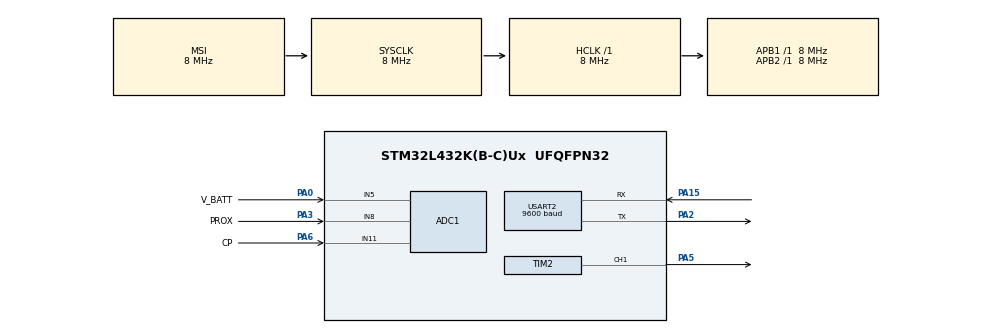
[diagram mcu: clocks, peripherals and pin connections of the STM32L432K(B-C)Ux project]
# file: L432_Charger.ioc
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ADC1.Channel-0\#ChannelRegularConversion=ADC_CHANNEL_5
ADC1.Channel-1\#ChannelRegularConversion=ADC_CHANNEL_8
ADC1.Channel-2\#ChannelRegularConversion=ADC_CHANNEL_11
ADC1.ClockPrescaler=ADC_CLOCK_SYNC_PCLK_DIV1
ADC1.ExternalTrigConv=ADC_EXTERNALTRIG_T6_TRGO
ADC1.NbrOfConversion=3
ADC1.NbrOfConversionFlag=1
ADC1.OffsetNumber-0\#ChannelRegularConversion=ADC_OFFSET_NONE
ADC1.OffsetNumber-1\#ChannelRegularConversion=ADC_OFFSET_NONE
ADC1.OffsetNumber-2\#ChannelRegularConversion=ADC_OFFSET_NONE
ADC1.Rank-0\#ChannelRegularConversion=1
ADC1.Rank-1\#ChannelRegularConversion=2
ADC1.Rank-2\#ChannelRegularConversion=3
ADC1.SamplingTime-0\#ChannelRegularConversion=ADC_SAMPLETIME_12CYCLES_5
ADC1.SamplingTime-1\#ChannelRegularConversion=ADC_SAMPLETIME_12CYCLES_5
ADC1.SamplingTime-2\#ChannelRegularConversion=ADC_SAMPLETIME_12CYCLES_5
ADC1.master=1
Dma.ADC1.0.Direction=DMA_PERIPH_TO_MEMORY
Dma.ADC1.0.Instance=DMA1_Channel1
Dma.ADC1.0.MemDataAlignment=DMA_MDATAALIGN_HALFWORD
Dma.ADC1.0.MemInc=DMA_MINC_ENABLE
Dma.ADC1.0.Mode=DMA_NORMAL
Dma.ADC1.0.PeriphDataAlignment=DMA_PDATAALIGN_HALFWORD
Dma.ADC1.0.PeriphInc=DMA_PINC_DISABLE
Dma.ADC1.0.Priority=DMA_PRIORITY_LOW
Dma.Request0=ADC1
FREERTOS.Tasks01=defaultTask,0,128,StartDefaultTask,Default,NULL,Dynamic,NULL,NULL
FREERTOS.configUSE_NEWLIB_REENTRANT=1
Mcu.Family=STM32L4
Mcu.Name=STM32L432K(B-C)Ux
Mcu.Package=UFQFPN32
NVIC.DMA1_Channel1_IRQn=true\:5\:0\:false\:false\:true\:true\:false\:true\:true
NVIC.PriorityGroup=NVIC_PRIORITYGROUP_4
NVIC.TIM1_UP_TIM16_IRQn=true\:15\:0\:false\:false\:true\:false\:false\:true\:true
NVIC.TimeBase=TIM1_UP_TIM16_IRQn
NVIC.TimeBaseIP=TIM1
PA0.GPIO_Label=V_BATT
PA0.Signal=ADCx_IN5
PA13\ (JTMS-SWDIO).Mode=Serial_Wire
PA13\ (JTMS-SWDIO).Signal=SYS_JTMS-SWDIO
PA14\ (JTCK-SWCLK).Mode=Serial_Wire
PA14\ (JTCK-SWCLK).Signal=SYS_JTCK-SWCLK
PA15\ (JTDI).Mode=Asynchronous
PA15\ (JTDI).Signal=USART2_RX
PA2.Mode=Asynchronous
PA2.Signal=USART2_TX
PA3.GPIO_Label=PROX
PA3.Signal=ADCx_IN8
PA5.Signal=S_TIM2_CH1
PA6.GPIO_Label=CP
PA6.GPIO_PuPd=GPIO_NOPULL
PA6.Signal=ADCx_IN11
ProjectManager.HeapSize=0x200
ProjectManager.StackSize=0x400
ProjectManager.TargetToolchain=STM32CubeIDE
RCC.ADCCLockSelection=RCC_ADCCLKSOURCE_SYSCLK
RCC.ADCFreq_Value=8000000
RCC.AHBFreq_Value=8000000
RCC.APB1Freq_Value=8000000
RCC.APB1TimFreq_Value=8000000
RCC.APB2Freq_Value=8000000
RCC.APB2TimFreq_Value=8000000
RCC.CortexFreq_Value=8000000
RCC.HCLKFreq_Value=8000000
RCC.HSE_VALUE=8000000
RCC.HSI48_VALUE=48000000
RCC.HSI_VALUE=16000000
RCC.LSE_VALUE=32768
RCC.MSIClockRange=RCC_MSIRANGE_7
RCC.MSI_VALUE=8000000
RCC.PLLSAI1N=16
RCC.SYSCLKFreq_VALUE=8000000
RCC.USBFreq_Value=64000000
RCC.VCOOutputFreq_Value=64000000
SH.ADCx_IN11.0=ADC1_IN11,IN11-Single-Ended
SH.ADCx_IN5.0=ADC1_IN5,IN5-Single-Ended
SH.ADCx_IN8.0=ADC1_IN8,IN8-Single-Ended
SH.S_TIM2_CH1.0=TIM2_CH1,PWM Generation1 CH1
TIM2.AutoReloadPreload=TIM_AUTORELOAD_PRELOAD_ENABLE
TIM2.Channel-PWM\ Generation1\ CH1=TIM_CHANNEL_1
TIM2.Period=3999
TIM2.Prescaler=1
TIM2.Pulse-PWM\ Generation1\ CH1=2000
TIM6.Period=99
TIM6.Prescaler=3999
TIM6.TIM_MasterOutputTrigger=TIM_TRGO_UPDATE
USART2.BaudRate=9600
USART2.VirtualMode-Asynchronous=VM_ASYNC
VP_FREERTOS_VS_CMSIS_V1.Mode=CMSIS_V1
VP_SYS_VS_tim1.Mode=TIM1
VP_TIM2_VS_ClockSourceINT.Mode=Internal
VP_TIM6_VS_ClockSourceINT.Mode=Enable_Timer
board=custom

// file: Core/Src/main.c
/* USER CODE BEGIN Header */
/**
  ******************************************************************************
  * @file           : main.c
  * @brief          : Main program body
  ******************************************************************************
  * @attention
  *
  * Copyright (c) 2022 STMicroelectronics.
  * All rights reserved.
  *
  * This software is licensed under terms that can be found in the LICENSE file
  * in the root directory of this software component.
  * If no LICENSE file comes with this software, it is provided AS-IS.
  *
  ******************************************************************************
  * Functions:
  *
  * Program is generating a PWM signal at pin PA5 (A4) with 1kHz and a duty cycle
  * as defined by MAXCURRENT
  * Program is reading 3 ADC signals
  * 	IN5 = A0 = PA0 = Pin 12 = V_BATT
  * 	IN8 = A3 = PA3 = Pin 10 = PROX
  * 	IN11= A6 = PA6 = Pin  7 = CP
  * to check whether connector is pluged, which max current can be charged and
  * whether charging has started
  *
  ******************************************************************************
  * Functions still missing
  * Check of level of PWM to check status of charging process
  * Switching of relais for power supply and communication
  * Change of PWM duty cycle depending on available energy
  ******************************************************************************
  * Known Bugs:
  * ADC zu immernoch langsam um PWM abzutasten
  *
  ******************************************************************************
  * Change Log:
  *
  * 06.04.22	Change ADC rate to 50us ==> 20 values per period of 1 ms
  * 06.04.22	Array of AD values to check level of PWM
  * 06.04.22	Flags für Spannungslevels (Status A-F) werden gesetzt
  * 06.04.22	Prescaler für ADC von 999 auf 99
  *
  ******************************************************************************
  */
/* USER CODE END Header */
#include "main.h"
#include "cmsis_os.h"

/* USER CODE BEGIN Includes */
#include <string.h>
/* USER CODE END Includes */

/* USER CODE BEGIN PTD */
union convert
{
	uint8_t letter[8];
	uint8_t str[8];
} text;

/* USER CODE END PTD */

/* USER CODE BEGIN PD */
#define ADC_CHANNELS	3		// 3 AD-Channels
#define ADC_SAMP_RATE  20		// 20 Conversions per period of 1 ms
#define ADC_BUF_SIZE ADC_CHANNELS*ADC_SAMP_RATE // ADC Buffer Size
#define MAXCURRENT 5
// 0 = kein Ladestrom
// 1 = max. Ladestrom 4,8  A
// 2 = max. Ladestrom 6    A
// 3 = max. Ladestrom 10   A
// 4 = max. Ladestrom 16   A
// 5 = max. Ladestrom 19   A
// 6 = max. Ladestrom 25,5 A
// 7 = max. Ladestrom 32   A
#define V_2 250					// Level for 2V at CP
#define V_4 750					// Level for 4V at CP
#define V_5 1000				// Level for 5V at CP
#define V_7 1500				// Level for 7V at CP
#define V_8 1750				// Level for 8V at CP
#define V_10 2250				// Level for 10V at CP
#define V_11 2500				// Level for 11V at CP

#define LEVEL_LIMIT 7			// At least 7 samples within allowed window

/* USER CODE END PD */

 ADC_HandleTypeDef hadc1;
DMA_HandleTypeDef hdma_adc1;

TIM_HandleTypeDef htim2;
TIM_HandleTypeDef htim6;

UART_HandleTypeDef huart2;

osThreadId defaultTaskHandle;
/* USER CODE BEGIN PV */
// General Variables
uint16_t	i = 0;
uint16_t	j = 0;
uint16_t	k = 0;

// Variables for AD Conversion
uint16_t 	ADC_buffer[ADC_BUF_SIZE];
uint8_t		ADC_flag = 0;					//Flag for ADC conversion finished
uint8_t		ADC_channel = 0;				//Index for ADC channel
uint16_t	ADC_Voltage[ADC_BUF_SIZE];		//Buffer for ADC result in mV
uint32_t	ADC_cum_Val = 0;				//Storage for ADC filtering
uint32_t	ADC_CP_High = 0;				//High level of CP
uint32_t	ADC_CP_Low = 0;					//Low level of CP
uint16_t	ADC_Vbat = 0;					//Filtered Value of VBATT
uint16_t	ADC_Prox = 0;					//Filtered Value of PROX

// Variables for Control
uint8_t 	CP_Status = 0;					//Status of Control Pilot
uint8_t		PROX_Status = 0;				//Status of Proximity Signal
uint8_t		VBATT_Status = 0;				//Status of VBATT Signal
uint8_t		CP_Stat_A;						//Counter for CP-Status A (+12V)
uint8_t		CP_Stat_B;						//Counter for CP-Status B (+9V)
uint8_t		CP_Stat_C;						//Counter for CP-Status C (+6V)
uint8_t		CP_Stat_D;						//Counter for CP-Status D (+3V)
uint8_t		CP_Stat_E;						//Counter for CP-Status E (+0V)
uint8_t		CP_Stat_F;						//Counter for CP-Status F (-12V)

// Variables for PWM
uint32_t 	CH1_DC 			= 0;			//Variable for DutyCycle of PWM
uint32_t 	duty 			= 50;			//duty cycle = 50%
uint8_t		current_level 	= MAXCURRENT;	//Level of allowed max load current

// Variables for UART
uint8_t 	tbuffer[30];			//Transmit buffer
uint8_t 	*ptbuffer;
uint16_t 	value;

// Variables for Error Handling
uint8_t 	error_code;			//Transmit buffer

/* USER CODE END PV */

void SystemClock_Config(void);
static void MX_GPIO_Init(void);
static void MX_DMA_Init(void);
static void MX_ADC1_Init(void);
static void MX_TIM6_Init(void);
static void MX_USART2_UART_Init(void);
static void MX_TIM2_Init(void);
void StartDefaultTask(void const * argument);

int main(void)
{

  /* MCU Configuration--------------------------------------------------------*/

  /* Reset of all peripherals, Initializes the Flash interface and the Systick. */
  HAL_Init();

  /* Configure the system clock */
  SystemClock_Config();

  /* Initialize all configured peripherals */
  MX_GPIO_Init();
  MX_DMA_Init();
  MX_ADC1_Init();
  MX_TIM6_Init();
  MX_USART2_UART_Init();
  MX_TIM2_Init();
  /* USER CODE BEGIN 2 */
  if(HAL_OK != HAL_TIM_PWM_Start(&htim2, TIM_CHANNEL_1))
	  Error_Handler();
  if(HAL_OK != HAL_ADCEx_Calibration_Start(&hadc1, ADC_SINGLE_ENDED))
	  Error_Handler();
  if(HAL_OK != HAL_ADC_Start_DMA(&hadc1, ADC_buffer, ADC_BUF_SIZE))
	  Error_Handler();
  if(HAL_OK != HAL_TIM_Base_Start(&htim6))
	  Error_Handler();

  /* USER CODE END 2 */

  /* Create the thread(s) */
  /* definition and creation of defaultTask */
  osThreadDef(defaultTask, StartDefaultTask, osPriorityNormal, 0, 128);
  defaultTaskHandle = osThreadCreate(osThread(defaultTask), NULL);

  /* Start scheduler */
  osKernelStart();

  /* We should never get here as control is now taken by the scheduler */
  /* Infinite loop */
  while (1)
  {

  }
}

void SystemClock_Config(void)
{
  RCC_OscInitTypeDef RCC_OscInitStruct = {0};
  RCC_ClkInitTypeDef RCC_ClkInitStruct = {0};

  /** Configure the main internal regulator output voltage
  */
  if (HAL_PWREx_ControlVoltageScaling(PWR_REGULATOR_VOLTAGE_SCALE1) != HAL_OK)
  {
    Error_Handler();
  }

  /** Initializes the RCC Oscillators according to the specified parameters
  * in the RCC_OscInitTypeDef structure.
  */
  RCC_OscInitStruct.OscillatorType = RCC_OSCILLATORTYPE_MSI;
  RCC_OscInitStruct.MSIState = RCC_MSI_ON;
  RCC_OscInitStruct.MSICalibrationValue = 0;
  RCC_OscInitStruct.MSIClockRange = RCC_MSIRANGE_7;
  RCC_OscInitStruct.PLL.PLLState = RCC_PLL_NONE;
  if (HAL_RCC_OscConfig(&RCC_OscInitStruct) != HAL_OK)
  {
    Error_Handler();
  }

  /** Initializes the CPU, AHB and APB buses clocks
  */
  RCC_ClkInitStruct.ClockType = RCC_CLOCKTYPE_HCLK|RCC_CLOCKTYPE_SYSCLK
                              |RCC_CLOCKTYPE_PCLK1|RCC_CLOCKTYPE_PCLK2;
  RCC_ClkInitStruct.SYSCLKSource = RCC_SYSCLKSOURCE_MSI;
  RCC_ClkInitStruct.AHBCLKDivider = RCC_SYSCLK_DIV1;
  RCC_ClkInitStruct.APB1CLKDivider = RCC_HCLK_DIV1;
  RCC_ClkInitStruct.APB2CLKDivider = RCC_HCLK_DIV1;

  if (HAL_RCC_ClockConfig(&RCC_ClkInitStruct, FLASH_LATENCY_0) != HAL_OK)
  {
    Error_Handler();
  }
}

static void MX_ADC1_Init(void)
{

  ADC_ChannelConfTypeDef sConfig = {0};

  /** Common config
  */
  hadc1.Instance = ADC1;
  hadc1.Init.ClockPrescaler = ADC_CLOCK_SYNC_PCLK_DIV1;
  hadc1.Init.Resolution = ADC_RESOLUTION_12B;
  hadc1.Init.DataAlign = ADC_DATAALIGN_RIGHT;
  hadc1.Init.ScanConvMode = ADC_SCAN_ENABLE;
  hadc1.Init.EOCSelection = ADC_EOC_SINGLE_CONV;
  hadc1.Init.LowPowerAutoWait = DISABLE;
  hadc1.Init.ContinuousConvMode = DISABLE;
  hadc1.Init.NbrOfConversion = 3;
  hadc1.Init.DiscontinuousConvMode = DISABLE;
  hadc1.Init.ExternalTrigConv = ADC_EXTERNALTRIG_T6_TRGO;
  hadc1.Init.ExternalTrigConvEdge = ADC_EXTERNALTRIGCONVEDGE_RISING;
  hadc1.Init.DMAContinuousRequests = DISABLE;
  hadc1.Init.Overrun = ADC_OVR_DATA_PRESERVED;
  hadc1.Init.OversamplingMode = DISABLE;
  if (HAL_ADC_Init(&hadc1) != HAL_OK)
  {
    Error_Handler();
  }

  /** Configure Regular Channel
  */
  sConfig.Channel = ADC_CHANNEL_5;
  sConfig.Rank = ADC_REGULAR_RANK_1;
  sConfig.SamplingTime = ADC_SAMPLETIME_12CYCLES_5;
  sConfig.SingleDiff = ADC_SINGLE_ENDED;
  sConfig.OffsetNumber = ADC_OFFSET_NONE;
  sConfig.Offset = 0;
  if (HAL_ADC_ConfigChannel(&hadc1, &sConfig) != HAL_OK)
  {
    Error_Handler();
  }

  /** Configure Regular Channel
  */
  sConfig.Channel = ADC_CHANNEL_8;
  sConfig.Rank = ADC_REGULAR_RANK_2;
  if (HAL_ADC_ConfigChannel(&hadc1, &sConfig) != HAL_OK)
  {
    Error_Handler();
  }

  /** Configure Regular Channel
  */
  sConfig.Channel = ADC_CHANNEL_11;
  sConfig.Rank = ADC_REGULAR_RANK_3;
  if (HAL_ADC_ConfigChannel(&hadc1, &sConfig) != HAL_OK)
  {
    Error_Handler();
  }

}

static void MX_TIM2_Init(void)
{

  TIM_ClockConfigTypeDef sClockSourceConfig = {0};
  TIM_MasterConfigTypeDef sMasterConfig = {0};
  TIM_OC_InitTypeDef sConfigOC = {0};

  htim2.Instance = TIM2;
  htim2.Init.Prescaler = 1;
  htim2.Init.CounterMode = TIM_COUNTERMODE_UP;
  htim2.Init.Period = 3999;
  htim2.Init.ClockDivision = TIM_CLOCKDIVISION_DIV1;
  htim2.Init.AutoReloadPreload = TIM_AUTORELOAD_PRELOAD_ENABLE;
  if (HAL_TIM_Base_Init(&htim2) != HAL_OK)
  {
    Error_Handler();
  }
  sClockSourceConfig.ClockSource = TIM_CLOCKSOURCE_INTERNAL;
  if (HAL_TIM_ConfigClockSource(&htim2, &sClockSourceConfig) != HAL_OK)
  {
    Error_Handler();
  }
  if (HAL_TIM_PWM_Init(&htim2) != HAL_OK)
  {
    Error_Handler();
  }
  sMasterConfig.MasterOutputTrigger = TIM_TRGO_RESET;
  sMasterConfig.MasterSlaveMode = TIM_MASTERSLAVEMODE_DISABLE;
  if (HAL_TIMEx_MasterConfigSynchronization(&htim2, &sMasterConfig) != HAL_OK)
  {
    Error_Handler();
  }
  sConfigOC.OCMode = TIM_OCMODE_PWM1;
  sConfigOC.Pulse = 2000;
  sConfigOC.OCPolarity = TIM_OCPOLARITY_HIGH;
  sConfigOC.OCFastMode = TIM_OCFAST_DISABLE;
  if (HAL_TIM_PWM_ConfigChannel(&htim2, &sConfigOC, TIM_CHANNEL_1) != HAL_OK)
  {
    Error_Handler();
  }
  HAL_TIM_MspPostInit(&htim2);

}

static void MX_TIM6_Init(void)
{

  TIM_MasterConfigTypeDef sMasterConfig = {0};

  htim6.Instance = TIM6;
  htim6.Init.Prescaler = 3999;
  htim6.Init.CounterMode = TIM_COUNTERMODE_UP;
  htim6.Init.Period = 99;
  htim6.Init.AutoReloadPreload = TIM_AUTORELOAD_PRELOAD_DISABLE;
  if (HAL_TIM_Base_Init(&htim6) != HAL_OK)
  {
    Error_Handler();
  }
  sMasterConfig.MasterOutputTrigger = TIM_TRGO_UPDATE;
  sMasterConfig.MasterSlaveMode = TIM_MASTERSLAVEMODE_DISABLE;
  if (HAL_TIMEx_MasterConfigSynchronization(&htim6, &sMasterConfig) != HAL_OK)
  {
    Error_Handler();
  }

}

static void MX_USART2_UART_Init(void)
{

  huart2.Instance = USART2;
  huart2.Init.BaudRate = 9600;
  huart2.Init.WordLength = UART_WORDLENGTH_8B;
  huart2.Init.StopBits = UART_STOPBITS_1;
  huart2.Init.Parity = UART_PARITY_NONE;
  huart2.Init.Mode = UART_MODE_TX_RX;
  huart2.Init.HwFlowCtl = UART_HWCONTROL_NONE;
  huart2.Init.OverSampling = UART_OVERSAMPLING_16;
  huart2.Init.OneBitSampling = UART_ONE_BIT_SAMPLE_DISABLE;
  huart2.AdvancedInit.AdvFeatureInit = UART_ADVFEATURE_NO_INIT;
  if (HAL_UART_Init(&huart2) != HAL_OK)
  {
    Error_Handler();
  }

}

static void MX_DMA_Init(void)
{

  /* DMA controller clock enable */
  __HAL_RCC_DMA1_CLK_ENABLE();

  /* DMA interrupt init */
  /* DMA1_Channel1_IRQn interrupt configuration */
  HAL_NVIC_SetPriority(DMA1_Channel1_IRQn, 5, 0);
  HAL_NVIC_EnableIRQ(DMA1_Channel1_IRQn);

}

static void MX_GPIO_Init(void)
{

  /* GPIO Ports Clock Enable */
  __HAL_RCC_GPIOA_CLK_ENABLE();

}

/* USER CODE BEGIN 4 */
void HAL_ADC_ConvCpltCallback(ADC_HandleTypeDef* hadc)
{
	if(HAL_OK != HAL_ADC_Stop_DMA(&hadc1))
		Error_Handler();
	ADC_flag = 1;
}
/* USER CODE END 4 */

void StartDefaultTask(void const * argument)
{
  /* USER CODE BEGIN 5 */
  /* Infinite loop */
  for(;;)
  {
	  current_level = MAXCURRENT;
	  switch(current_level)
	  {
		  case(0): duty = 0; break;		//kein Ladestrom
		  case(1): duty = 8; break;		//max. Ladestrom 4,8  A
		  case(2): duty = 10; break;	//max. Ladestrom 6    A
		  case(3): duty = 16; break;	//max. Ladestrom 10   A
		  case(4): duty = 25; break;	//max. Ladestrom 16   A
		  case(5): duty = 30; break;	//max. Ladestrom 19   A
		  case(6): duty = 40; break;	//max. Ladestrom 25,5 A
		  case(7): duty = 50; break;	//max. Ladestrom 32   A
		  default: duty = 0; break;		//Fehler Strom = 0
	  }

	  // Reload timer 2 for PWM
      TIM2->CCR1 = CH1_DC;
      CH1_DC = 3926*duty/100;		//duty = Tastverhältnis

	  if(ADC_flag == 1)
	  {
		  // Store values in mV in ADC_Voltage Array
		  // Order of values is:
		  // channel(0).value(0),
		  // channel(1).value(0),
		  // channel(2).value(0),
		  // channel(0).value(1)...
		  for(i=0; i < ADC_BUF_SIZE; i++)
	  	  {
			  ADC_Voltage[i] = __LL_ADC_CALC_DATA_TO_VOLTAGE(3300,ADC_buffer[i],LL_ADC_RESOLUTION_12B);
	  	  }

		  // Filtering of values
		  CP_Stat_A = 0;
		  CP_Stat_B = 0;
		  CP_Stat_C = 0;
		  CP_Stat_D = 0;
		  CP_Stat_E = 0;
		  CP_Stat_F = 0;

		  ADC_CP_Low = 0;
		  ADC_CP_High = 0;

  		  for(i=0; i < ADC_BUF_SIZE; i=i+3)
		  {
  			  if(ADC_Voltage[i]<V_2)
  			  {
  	   	  		ADC_CP_Low = ADC_CP_Low + ADC_Voltage[i];
  				CP_Stat_E++;
  			  }
 			  if((ADC_Voltage[i]>V_2) & (ADC_Voltage[i]<V_4))
  			  {
  				CP_Stat_D++;
  			  }
  			  if((ADC_Voltage[i]>V_5) & (ADC_Voltage[i]<V_7))
  			  {
  				CP_Stat_C++;
  			  }
  			  if((ADC_Voltage[i]>V_8) & (ADC_Voltage[i]<V_10))
  			  {
  				CP_Stat_B++;
  			  }
  			  if(ADC_Voltage[i]>V_11)
  			  {
  				CP_Stat_A++;
  			  }
  			  if(ADC_Voltage[i]>=V_2)
  			  {
  	   	  		ADC_CP_High = ADC_CP_High + ADC_Voltage[i];
  			  }

		  }

  		  ADC_CP_Low = ADC_CP_Low / ADC_SAMP_RATE;
  		  ADC_CP_High = ADC_CP_High / ADC_SAMP_RATE;

  		  if(CP_Stat_A > LEVEL_LIMIT) CP_Status = 0;
  		  if(CP_Stat_B > LEVEL_LIMIT) CP_Status = 1;
  		  if(CP_Stat_C > LEVEL_LIMIT) CP_Status = 2;
  		  if(CP_Stat_D > LEVEL_LIMIT) CP_Status = 3;
  		  if(CP_Stat_E > LEVEL_LIMIT) CP_Status = 4;
  		  if(CP_Stat_F > LEVEL_LIMIT) CP_Status = 5;

		  ADC_cum_Val = 0;

  		  for(i=1; i < ADC_BUF_SIZE; i=i+3)
	  	  {
  			  ADC_cum_Val = ADC_cum_Val + ADC_Voltage[i];
	  	  }
  		  ADC_Prox = ADC_cum_Val / ADC_SAMP_RATE;

  		  ADC_cum_Val = 0;

  		  for(i=2; i < ADC_BUF_SIZE; i=i+3)
	  	  {
  			  ADC_cum_Val = ADC_cum_Val + ADC_Voltage[i];
	  	  }
		  ADC_Vbat = ADC_cum_Val / ADC_SAMP_RATE;

	  	  //Send data to UART
	  	  ptbuffer = &tbuffer[0];
	  	  strcpy((char *)tbuffer,"\r\nMesswerte: ");

	  	  if(HAL_OK != HAL_UART_Transmit(&huart2, tbuffer, 15, 100))
	  	  {
	  		  error_code = 8;
	  		  Error_Handler();
	  	  }
	  	  for(ADC_channel=0; ADC_channel <= (ADC_CHANNELS); ADC_channel++)
	  	  {
	  		  if(ADC_channel == 0) value = ADC_CP_Low;
	  		  if(ADC_channel == 1) value = ADC_CP_High;
	  		  if(ADC_channel == 2) value = ADC_Prox;
	  		  if(ADC_channel == 3) value = ADC_Vbat;
	  		  strcpy((char *)tbuffer,"\n\r");

	  		  text.letter[0] = '0' + (uint8_t)(value/1000);
	     		  text.letter[1] = '0' + (uint8_t)((value%1000)/100);
	     		  text.letter[2] = '0' + (uint8_t)((value%100)/10);
	  		  text.letter[3] = '0' + (uint8_t)(value%10);
	  		  text.letter[4] = '\0';
	  		  strcat((char *)tbuffer,text.str);

	      	  if(HAL_OK != HAL_UART_Transmit(&huart2, tbuffer, 6, 100))
	      	  {
	      		  error_code = 8;
	      		  Error_Handler();
	      	  }
	      	  strcpy((char *)tbuffer,"; ");
	      	  if(HAL_OK != HAL_UART_Transmit(&huart2, tbuffer, 2, 100))
	      	  {
	      		  error_code = 8;
	      		  Error_Handler();
	      	  }
	  	  }
	  	  strcpy((char *)tbuffer,"\r\n");
	  	  if(HAL_OK != HAL_UART_Transmit(&huart2, tbuffer, 2, 100))
	  	  {
	  		  error_code = 8;
	  		  Error_Handler();
	  	  }
//	  	  HAL_Delay(1000);
	  	  //Restart ADC conversion
	  	  ADC_flag = 0;
	  	  if(HAL_OK != HAL_ADC_Start_DMA(&hadc1, ADC_buffer, ADC_BUF_SIZE))
	  	  {
	  		  error_code = 8;
	  		  Error_Handler();
	  	  }

	  }
	  osDelay(1);
  }
  /* USER CODE END 5 */
}

void HAL_TIM_PeriodElapsedCallback(TIM_HandleTypeDef *htim)
{
  if (htim->Instance == TIM1) {
    HAL_IncTick();
  }
}

void Error_Handler(void)
{
  __disable_irq();
  while (1)
  {
  }
}
